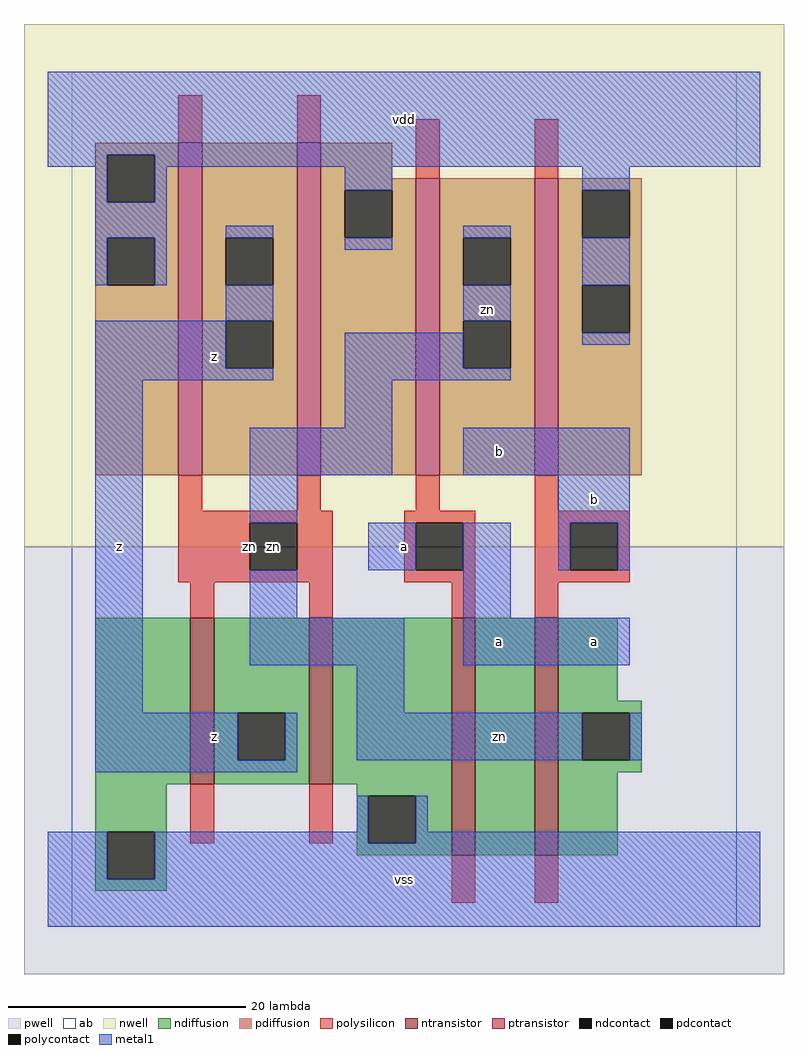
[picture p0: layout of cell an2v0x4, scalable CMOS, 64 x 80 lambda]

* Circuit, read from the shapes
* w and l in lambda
.subckt an2v0x4 a b vdd vss z zn
M1 z zn vss VSUBS nfet w=14 l=2 m=2
M2 n1 a vss VSUBS nfet w=20 l=2
M3 zn b n1 VSUBS nfet w=20 l=2
M4 z zn vdd n2 pfet w=28 l=2 m=2
M5 zn a vdd n2 pfet w=25 l=2
M6 vdd b zn n2 pfet w=25 l=2
.ends

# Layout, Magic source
magic
tech scmos
<< ab >>
rect 0 0 56 72
<< pwell >>
rect -4 -4 60 32
<< nwell >>
rect -4 32 60 76
<< polysilicon >>
rect 9 66 11 70
rect 19 66 21 70
rect 29 63 31 68
rect 39 63 41 68
rect 9 35 11 38
rect 19 35 21 38
rect 29 35 31 38
rect 39 35 41 38
rect 9 34 22 35
rect 9 30 15 34
rect 19 30 22 34
rect 9 29 22 30
rect 28 34 34 35
rect 28 30 29 34
rect 33 30 34 34
rect 28 29 34 30
rect 10 26 12 29
rect 20 26 22 29
rect 32 26 34 29
rect 39 34 47 35
rect 39 30 42 34
rect 46 30 47 34
rect 39 29 47 30
rect 39 26 41 29
rect 10 7 12 12
rect 20 7 22 12
rect 32 2 34 6
rect 39 2 41 6
<< ndiffusion >>
rect 2 12 10 26
rect 12 18 20 26
rect 12 14 14 18
rect 18 14 20 18
rect 12 12 20 14
rect 22 12 32 26
rect 2 8 8 12
rect 2 4 3 8
rect 7 4 8 8
rect 24 11 32 12
rect 24 7 25 11
rect 29 7 32 11
rect 24 6 32 7
rect 34 6 39 26
rect 41 19 46 26
rect 41 18 48 19
rect 41 14 43 18
rect 47 14 48 18
rect 41 13 48 14
rect 41 6 46 13
rect 2 3 8 4
<< pdiffusion >>
rect 2 65 9 66
rect 2 61 3 65
rect 7 61 9 65
rect 2 58 9 61
rect 2 54 3 58
rect 7 54 9 58
rect 2 38 9 54
rect 11 58 19 66
rect 11 54 13 58
rect 17 54 19 58
rect 11 51 19 54
rect 11 47 13 51
rect 17 47 19 51
rect 11 38 19 47
rect 21 63 27 66
rect 21 62 29 63
rect 21 58 23 62
rect 27 58 29 62
rect 21 38 29 58
rect 31 58 39 63
rect 31 54 33 58
rect 37 54 39 58
rect 31 51 39 54
rect 31 47 33 51
rect 37 47 39 51
rect 31 38 39 47
rect 41 62 48 63
rect 41 58 43 62
rect 47 58 48 62
rect 41 54 48 58
rect 41 50 43 54
rect 47 50 48 54
rect 41 38 48 50
<< metal1 >>
rect -2 65 58 72
rect -2 64 3 65
rect 2 61 3 64
rect 7 64 58 65
rect 7 61 8 64
rect 2 58 8 61
rect 23 62 27 64
rect 2 54 3 58
rect 7 54 8 58
rect 13 58 17 59
rect 43 62 47 64
rect 23 57 27 58
rect 33 58 37 59
rect 13 51 17 54
rect 2 47 13 51
rect 33 51 37 54
rect 2 46 17 47
rect 23 47 33 50
rect 43 54 47 58
rect 43 49 47 50
rect 23 46 37 47
rect 2 18 6 46
rect 23 42 27 46
rect 15 38 27 42
rect 33 38 47 42
rect 15 34 19 38
rect 41 34 47 38
rect 25 30 29 34
rect 15 26 19 30
rect 33 26 37 34
rect 41 30 42 34
rect 46 30 47 34
rect 15 22 28 26
rect 33 22 47 26
rect 24 18 28 22
rect 2 14 14 18
rect 18 14 19 18
rect 24 14 43 18
rect 47 14 48 18
rect 2 13 19 14
rect 24 8 25 11
rect -2 4 3 8
rect 7 7 25 8
rect 29 8 30 11
rect 29 7 58 8
rect 7 4 58 7
rect -2 0 58 4
<< ntransistor >>
rect 10 12 12 26
rect 20 12 22 26
rect 32 6 34 26
rect 39 6 41 26
<< ptransistor >>
rect 9 38 11 66
rect 19 38 21 66
rect 29 38 31 63
rect 39 38 41 63
<< polycontact >>
rect 15 30 19 34
rect 29 30 33 34
rect 42 30 46 34
<< ndcontact >>
rect 14 14 18 18
rect 3 4 7 8
rect 25 7 29 11
rect 43 14 47 18
<< pdcontact >>
rect 3 61 7 65
rect 3 54 7 58
rect 13 54 17 58
rect 13 47 17 51
rect 23 58 27 62
rect 33 54 37 58
rect 33 47 37 51
rect 43 58 47 62
rect 43 50 47 54
<< labels >>
rlabel polysilicon 15 32 15 32 6 zn
rlabel metal1 4 32 4 32 6 z
rlabel metal1 12 16 12 16 6 z
rlabel polycontact 17 32 17 32 6 zn
rlabel metal1 12 48 12 48 6 z
rlabel metal1 28 4 28 4 6 vss
rlabel metal1 28 32 28 32 6 a
rlabel metal1 36 24 36 24 6 a
rlabel metal1 36 40 36 40 6 b
rlabel metal1 35 52 35 52 6 zn
rlabel metal1 28 68 28 68 6 vdd
rlabel metal1 36 16 36 16 6 zn
rlabel metal1 44 24 44 24 6 a
rlabel metal1 44 36 44 36 6 b
<< end >>
